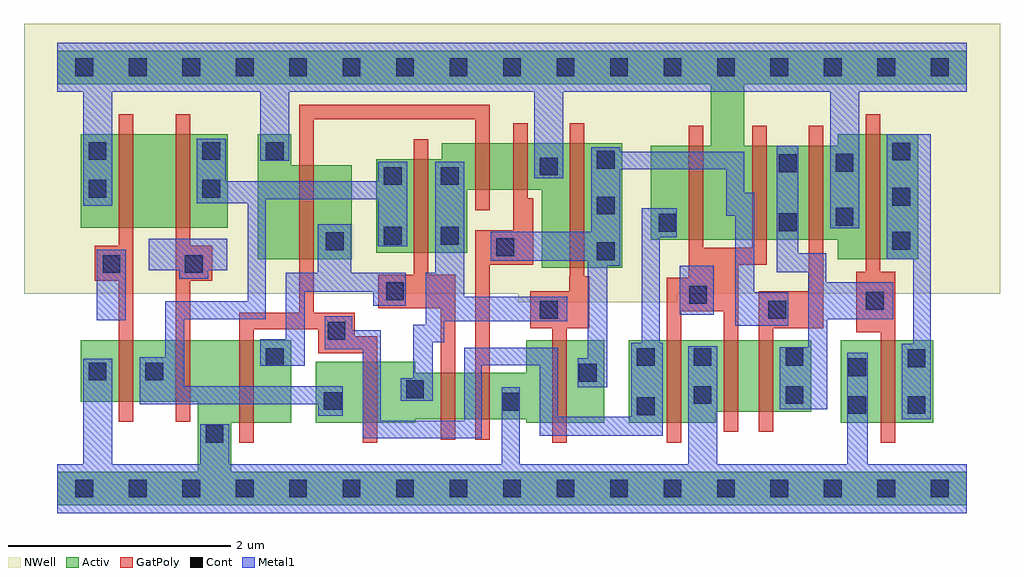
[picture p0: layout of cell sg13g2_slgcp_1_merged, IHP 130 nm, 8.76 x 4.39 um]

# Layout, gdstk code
import gdstk
lib = gdstk.Library(unit=1e-6, precision=1e-09)
def R(c, l, rs):  # rectangles x0, y0, x1, y1
    for r in rs: c.add(gdstk.rectangle(r[:2], r[2:], *l))
def A(c, l, x, y, w, h, nx, ny, dx, dy):  # array of equal rectangles
    R(c, l, [(x+i*dx, y+j*dy, x+i*dx+w, y+j*dy+h) for i in range(nx) for j in range(ny)])
def P(c, l, *ps):  # polygons
    for p in ps: c.add(gdstk.Polygon(p, *l))
Activ = (1, 0)
GatPoly = (5, 0)
Cont = (6, 0)
Metal1 = (8, 0)
NWell = (31, 0)

sg13g2_slgcp_1_merged = lib.new_cell('sg13g2_slgcp_1_merged')
R(sg13g2_slgcp_1_merged, Activ, [(7.03,0.59,7.86,1.33), (0.21,2.34,1.53,3.18)])
P(sg13g2_slgcp_1_merged, Activ, [(0,-0.15),(0,0.15),(1.26,0.15),(1.26,0.78),(0.21,0.78),(0.21,1.33),(2.1,1.33),(2.1,0.59),(1.56,0.59),(1.56,0.15),(8.16,0.15),(8.16,-0.15)],
  [(2.32,0.59),(2.32,1.14),(3.21,1.14),(3.21,1.04),(4.21,1.04),(4.21,1.33),(4.91,1.33),(4.91,0.59),(4.21,0.59),(4.21,0.62),(3.21,0.62),(3.21,0.59)],
  [(5.13,0.59),(5.13,1.33),(6.765,1.33),(6.765,0.69),(5.91,0.69),(5.91,0.59)],
  [(4.345,1.98),(4.345,2.68),(3.68,2.68),(3.68,2.115),(2.86,2.115),(2.86,2.955),(3.45,2.955),(3.45,3.1),(5.07,3.1),(5.07,1.98)],
  [(1.8,2.06),(1.8,3.18),(2.1,3.18),(2.1,2.9),(2.64,2.9),(2.64,2.06)],
  [(7.005,2.06),(7.005,2.235),(5.325,2.235),(5.325,3.075),(5.865,3.075),(5.865,3.63),(0,3.63),(0,3.93),(8.16,3.93),(8.16,3.63),(6.165,3.63),(6.165,3.075),(7.005,3.075),(7.005,3.18),(7.725,3.18),(7.725,2.06)])
P(sg13g2_slgcp_1_merged, GatPoly, [(3.44,0.44),(3.44,1.62),(2.88,1.62),(2.88,1.92),(3.2,1.92),(3.2,3.135),(3.33,3.135),(3.33,1.92),(3.57,1.92),(3.57,0.44)],
  [(5.47,0.41),(5.47,1.89),(5.665,1.89),(5.665,3.255),(5.795,3.255),(5.795,2.16),(6.235,2.16),(6.235,3.255),(6.365,3.255),(6.365,2.01),(6.11,2.01),(6.11,0.51),(5.98,0.51),(5.98,1.59),(5.6,1.59),(5.6,0.41)],
  [(6.295,0.51),(6.295,1.77),(6.745,1.77),(6.745,3.255),(6.875,3.255),(6.875,1.44),(6.425,1.44),(6.425,0.51)],
  [(3.75,0.44),(3.75,2.32),(4.09,2.32),(4.09,3.28),(4.22,3.28),(4.22,2.605),(4.27,2.605),(4.27,2.01),(3.88,2.01),(3.88,0.44)],
  [(4.44,0.41),(4.44,1.44),(4.245,1.44),(4.245,1.77),(4.595,1.77),(4.595,1.905),(4.6,1.905),(4.6,3.28),(4.73,3.28),(4.73,1.905),(4.775,1.905),(4.775,1.44),(4.57,1.44),(4.57,0.41)],
  [(0.55,0.6),(0.55,1.865),(0.335,1.865),(0.335,2.18),(0.55,2.18),(0.55,3.36),(0.68,3.36),(0.68,0.6)],
  [(1.06,0.6),(1.06,3.36),(1.19,3.36),(1.19,2.18),(1.39,2.18),(1.39,1.865),(1.19,1.865),(1.19,0.6)],
  [(7.39,0.41),(7.39,1.405),(7.17,1.405),(7.17,1.945),(7.255,1.945),(7.255,3.36),(7.385,3.36),(7.385,1.945),(7.52,1.945),(7.52,0.41)],
  [(1.63,0.41),(1.63,1.58),(2.17,1.58),(2.17,3.445),(3.88,3.445),(3.88,2.5),(3.75,2.5),(3.75,3.315),(2.3,3.315),(2.3,1.58),(2.67,1.58),(2.67,1.365),(2.87,1.365),(2.87,0.41),(2.74,0.41),(2.74,1.215),(2.34,1.215),(2.34,1.43),(1.76,1.43),(1.76,0.41)])
A(sg13g2_slgcp_1_merged, Cont, 0.16, -0.08, 0.16, 0.16, 17, 2, 0.48, 3.78)
A(sg13g2_slgcp_1_merged, Cont, 4.84, 2.05, 0.16, 0.16, 1, 3, 0, 0.41)
R(sg13g2_slgcp_1_merged, Cont, [(1.33,0.41,1.49,0.57), (5.2,0.66,5.36,0.82), (7.1,0.67,7.26,0.83), (7.63,0.67,7.79,0.83), (3.99,0.7,4.15,0.86), (2.39,0.705,2.55,0.865), (5.71,0.76,5.87,0.92), (6.535,0.76,6.695,0.92), (3.13,0.81,3.29,0.97), (4.68,0.96,4.84,1.12), (0.28,0.97,0.44,1.13), (0.79,0.97,0.95,1.13), (7.1,1.01,7.26,1.17), (7.63,1.09,7.79,1.25), (1.87,1.1,2.03,1.26), (5.2,1.1,5.36,1.26), (5.71,1.1,5.87,1.26), (6.535,1.1,6.695,1.26), (2.425,1.335,2.585,1.495), (4.33,1.525,4.49,1.685), (6.38,1.525,6.54,1.685), (7.255,1.605,7.415,1.765), (5.67,1.66,5.83,1.82), (2.95,1.69,3.11,1.85), (0.405,1.935,0.565,2.095), (1.145,1.935,1.305,2.095), (3.94,2.085,4.1,2.245), (2.41,2.14,2.57,2.3), (7.495,2.145,7.655,2.305), (2.93,2.19,3.09,2.35), (3.44,2.19,3.6,2.35), (5.395,2.305,5.555,2.465), (6.475,2.31,6.635,2.47), (6.985,2.36,7.145,2.52), (7.495,2.54,7.655,2.7), (0.28,2.61,0.44,2.77), (1.3,2.61,1.46,2.77), (2.93,2.725,3.09,2.885), (3.44,2.725,3.6,2.885), (4.33,2.81,4.49,2.97), (6.475,2.84,6.635,3), (6.985,2.845,7.145,3.005), (7.495,2.945,7.655,3.105), (0.28,2.95,0.44,3.11), (1.3,2.95,1.46,3.11), (1.87,2.95,2.03,3.11)])
R(sg13g2_slgcp_1_merged, Metal1, [(0.355,1.51,0.615,2.145), (5.585,1.56,5.89,2)])
P(sg13g2_slgcp_1_merged, Metal1, [(0,-0.22),(0,0.22),(0.23,0.22),(0.23,1.165),(0.49,1.165),(0.49,0.22),(1.28,0.22),(1.28,0.575),(1.54,0.575),(1.54,0.22),(3.99,0.22),(3.99,0.91),(4.15,0.91),(4.15,0.22),(5.66,0.22),(5.66,1.275),(5.92,1.275),(5.92,0.22),(7.09,0.22),(7.09,1.22),(7.275,1.22),(7.275,0.22),(8.16,0.22),(8.16,-0.22)],
  [(1.095,1.885),(1.095,1.96),(0.82,1.96),(0.82,2.24),(1.525,2.24),(1.525,1.96),(1.355,1.96),(1.355,1.885)],
  [(1.82,1.1),(1.82,1.34),(2.05,1.34),(2.05,1.935),(2.335,1.935),(2.335,2.37),(2.635,2.37),(2.635,1.935),(3.125,1.935),(3.125,1.64),(2.835,1.64),(2.835,1.765),(2.22,1.765),(2.22,1.1)],
  [(2.74,0.45),(2.74,1.25),(2.4,1.25),(2.4,1.545),(2.645,1.545),(2.645,1.42),(2.9,1.42),(2.9,0.61),(3.65,0.61),(3.65,1.265),(4.49,1.265),(4.49,0.645),(5.15,0.645),(5.15,1.31),(5.245,1.31),(5.245,2.515),(5.56,2.515),(5.56,2.255),(5.405,2.255),(5.405,1.31),(5.435,1.31),(5.435,0.475),(4.33,0.475),(4.33,1.105),(3.81,1.105),(3.81,0.45)],
  [(3.08,0.79),(3.08,0.99),(3.195,0.99),(3.195,1.47),(3.305,1.47),(3.305,1.935),(3.39,1.935),(3.39,2.935),(3.65,2.935),(3.65,1.72),(4.575,1.72),(4.575,1.5),(3.47,1.5),(3.47,1.315),(3.37,1.315),(3.37,0.79)],
  [(4.67,0.91),(4.67,1.17),(4.76,1.17),(4.76,2.045),(3.89,2.045),(3.89,2.305),(4.79,2.305),(4.79,3.065),(5.05,3.065),(5.05,3.025),(6.165,3.025),(6.165,2.655),(6.255,2.655),(6.255,1.76),(6.56,1.76),(6.56,1.46),(6.085,1.46),(6.085,2.45),(6.005,2.45),(6.005,2.865),(5.05,2.865),(5.05,2),(4.935,2),(4.935,0.91)],
  [(6.485,0.71),(6.485,1.27),(6.74,1.27),(6.74,1.94),(6.455,1.94),(6.455,3.075),(6.65,3.075),(6.65,2.11),(6.9,2.11),(6.9,1.85),(7.5,1.85),(7.5,1.52),(6.91,1.52),(6.91,0.71)],
  [(2.34,0.655),(2.34,0.755),(0.74,0.755),(0.74,1.18),(0.97,1.18),(0.97,1.68),(1.71,1.68),(1.71,2.56),(1.25,2.56),(1.25,3.14),(1.51,3.14),(1.51,2.76),(2.88,2.76),(2.88,2.935),(3.14,2.935),(3.14,2.175),(2.88,2.175),(2.88,2.595),(1.87,2.595),(1.87,1.52),(1.14,1.52),(1.14,0.92),(2.56,0.92),(2.56,0.655)],
  [(7.58,0.62),(7.58,1.3),(7.68,1.3),(7.68,2.06),(7.445,2.06),(7.445,3.18),(7.84,3.18),(7.84,0.62)],
  [(6.935,2.335),(6.935,3.56),(4.54,3.56),(4.54,2.785),(4.28,2.785),(4.28,3.56),(2.08,3.56),(2.08,2.94),(1.82,2.94),(1.82,3.56),(0.49,3.56),(0.49,2.54),(0.23,2.54),(0.23,3.56),(0,3.56),(0,4),(8.16,4),(8.16,3.56),(7.195,3.56),(7.195,2.335)])
P(sg13g2_slgcp_1_merged, NWell, [(4.135,1.67),(4.135,1.75),(-0.3,1.75),(-0.3,4.17),(8.46,4.17),(8.46,1.75),(5.565,1.75),(5.565,1.67)])

lib.write_gds('sg13g2_slgcp_1_merged.gds')
